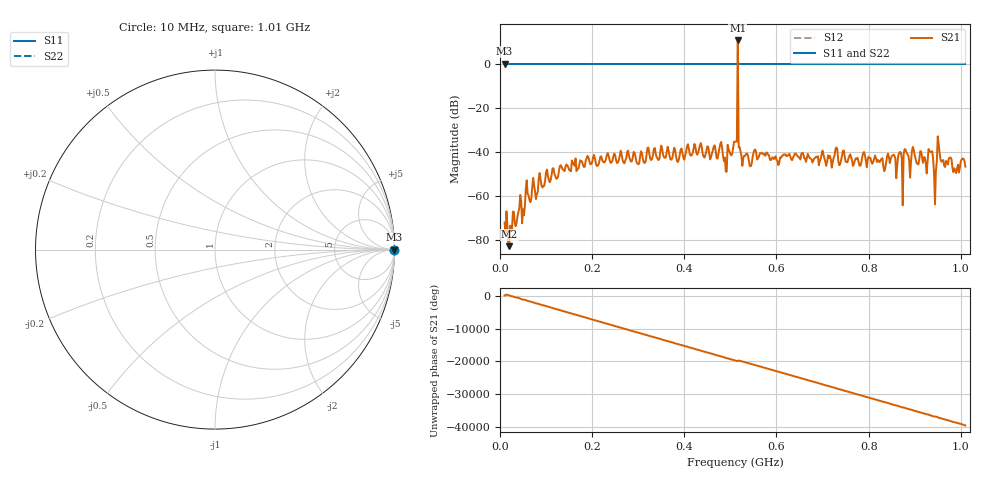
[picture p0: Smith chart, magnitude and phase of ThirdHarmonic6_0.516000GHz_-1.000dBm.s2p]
! 8/15/2025 3:49:28 PM
! C:\ANRITSUVNA\TEMP\TEMP.S2P
! CHANNEL.1
! TR.MEASUREMENT
! RAW.DATA
! RF.CORRECTION.OFF
! AVERAGING.OFF
! IF.BANDWIDTH: 5KHZ
! SWEEPTYPE:  FREQ.SWEEP(Linear)
! Reference Plane Port Info
! PORT:  PORT1  PORT2
! DISTANCE:  0  m  0  m
! TIME:  0  s  0  s
! PHASE.OFFSET:  0  deg.  0  deg.
! LOSS:  0  dB  0  dB
! REF.LOSS:  0  dB  0  dB
! REF.FREQ:  0  Hz  0  Hz
! Power Info
! POWER:  -20  dBm  -20  dBm
! EFF.POWER:  -20  dBm  -20  dBm
! SOURCE.ATTEN:  0  dB  0  dB
! TEST.ATTEN:  0  dB  0  dB
# GHZ S RI R 50.0
! FREQ.GHZ  S11RE  S11IM  S21RE  S21IM  S12RE  S12IM  S22RE  S22IM
!; PortSelection: Port_12
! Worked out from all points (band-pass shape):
!   501 points, 10 MHz to 1.01 GHz, reference 50 ohm
!   highest |S21| = 10.46 dB at 516 MHz (marker M1); lowest = -82.7 dB at 20 MHz (marker M2)
!   |S21| within 3 dB of the highest: 515.8691 MHz to 516.124 MHz (255 kHz wide, 0.0494 % of centre)
!   lowest |S11| = 0.0 dB at 10 MHz (marker M3)
!   |S11| at or under -10 dB: nowhere
!   |S22| runs from 0.0 to 0.0 dB; largest |S21 - S12| = 3.8
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0.01  1 0  -0.000121 0.000221  1 0  1 0
0.02  1 0  -6.36e-05 3.63e-05  1 0  1 0
0.06  1 0  -0.000428 -0.00103  1 0  1 0
0.178  1 0  -0.00549 0.00265  1 0  1 0
0.344  1 0  0.0023 -0.00609  1 0  1 0
0.478  1 0  0.00385 -0.0144  1 0  1 0
0.488  1 0  -0.0032 -0.00672  1 0  1 0
0.51  1 0  0.00792 0.015  1 0  1 0
0.512  1 0  0.0157 -0.00686  1 0  1 0
0.516  1 0  -0.9726 -3.191  1 0  1 0
0.52  1 0  0.0119 -0.00465  1 0  1 0
0.522  1 0  -0.00211 -0.01  1 0  1 0
0.544  1 0  -0.00296 0.00366  1 0  1 0
0.552  1 0  -0.011 0.000938  1 0  1 0
0.678  1 0  -0.00309 0.0048  1 0  1 0
0.844  1 0  -0.000274 -0.00771  1 0  1 0
0.922  1 0  0.00743 -0.000732  1 0  1 0
0.934  1 0  -0.00594 -0.00804  1 0  1 0
0.944  1 0  -0.000458 -0.000459  1 0  1 0
0.952  1 0  -0.0123 -0.00897  1 0  1 0
0.986  1 0  0.00156 -0.00394  1 0  1 0
1.01  1 0  0.00453 0.00088  1 0  1 0
